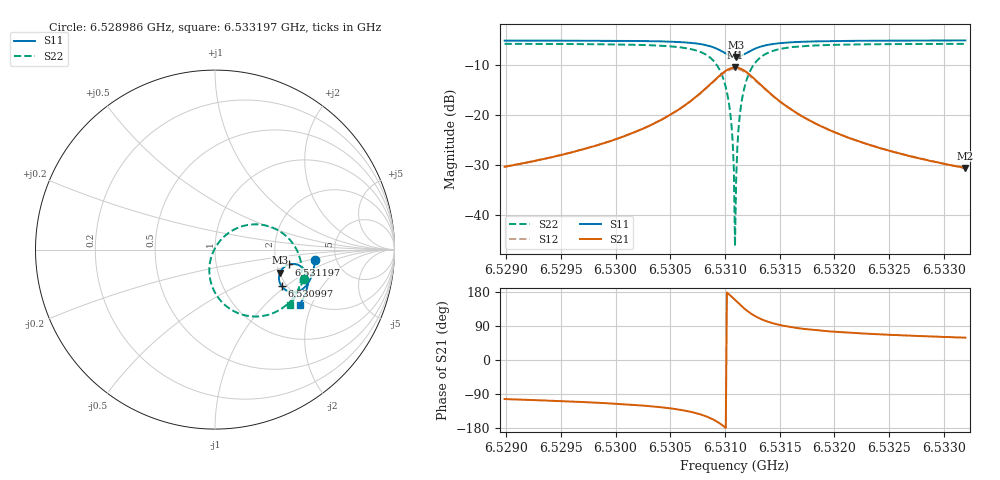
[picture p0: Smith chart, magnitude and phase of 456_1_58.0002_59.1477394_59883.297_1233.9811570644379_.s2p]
#  HZ  S  RI  R  50.00
! Rohde & Schwarz Vector Network Analyzer
! Rohde-Schwarz,ZNB20-2Port,1311601062101988,3.16
! Created: UTC 3/21/2024, 1:10:45 AM
! freq[Hz]  re:S11  im:S11  re:S21  im:S21  re:S12  im:S12  re:S22  im:S22
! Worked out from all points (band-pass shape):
!   401 points, 6.528986 GHz to 6.533197 GHz, reference 50 ohm
!   highest |S21| = -10.40 dB at 6.531092 GHz (marker M1); lowest = -30.5 dB at 6.533197 GHz (marker M2)
!   |S21| within 3 dB of the highest: 6.530882 GHz to 6.531303 GHz (420.9 kHz wide, 0.00644 % of centre)
!   lowest |S11| = -8.3 dB at 6.531102 GHz (marker M3), VSWR 2.25, Z = 101 - j30.2 ohm
!   |S11| at or under -10 dB: nowhere
!   |S22| runs from -46.2 to -5.7 dB; largest |S21 - S12| = 0.012
!   S11 on the Smith chart (normalised r, x): 6.528986 GHz: 3.44, -0.60; 6.530997 GHz: 1.88, -0.93; 6.531197 GHz: 2.34, -0.47; 6.533197 GHz: 1.82, -1.64
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6.5289861e9  0.5578 -0.0594  -0.0069 -0.0299  -0.00747 -0.0297  0.4945 -0.1627
6.5296914e9  0.5475 -0.1177  -0.0161 -0.0425  -0.0171 -0.0422  0.4643 -0.2281
6.5303967e9  0.5191 -0.1868  -0.0493 -0.0728  -0.0513 -0.0715  0.3842 -0.3197
6.5308178e9  0.4494 -0.2358  -0.1553 -0.0984  -0.1576 -0.0923  0.1806 -0.3691
6.5309231e9  0.4053 -0.2307  -0.2235 -0.0726  -0.2229 -0.0637  0.0638 -0.3158
6.5309968e9  0.3712 -0.2039  -0.2742 -0.0153  -0.2687 -0.00586  -0.0134 -0.2111
6.5310283e9  0.3609 -0.1841  -0.2876 0.0224  -0.28 0.0309  -0.03 -0.1458
6.5310494e9  0.3569 -0.1687  -0.2911 0.0512  -0.2819 0.0583  -0.0311 -0.0978
6.5310599e9  0.3564 -0.1606  -0.2908 0.0663  -0.2812 0.0723  -0.0283 -0.0732
6.5310705e9  0.3566 -0.1522  -0.289 0.0811  -0.2789 0.0866  -0.0229 -0.0487
6.531081e9  0.3577 -0.144  -0.2856 0.0962  -0.2753 0.1006  -0.015 -0.0247
6.5310915e9  0.3596 -0.1357  -0.2808 0.1108  -0.2703 0.1143  -0.00475 -0.00125
6.531102e9  0.3624 -0.1278  -0.2746 0.125  -0.264 0.1274  0.00764 0.021
6.5311126e9  0.3661 -0.1202  -0.2669 0.1385  -0.2565 0.1399  0.0223 0.0417
6.5311231e9  0.3705 -0.1132  -0.2582 0.1507  -0.2481 0.1514  0.0386 0.0609
6.5311441e9  0.3813 -0.1009  -0.2375 0.1723  -0.2282 0.1715  0.0759 0.0931
6.5311968e9  0.4138 -0.0829  -0.1782 0.2042  -0.1717 0.2012  0.1793 0.1367
6.5312705e9  0.4562 -0.0832  -0.1036 0.2066  -0.1005 0.2036  0.3051 0.1281
6.5313757e9  0.4929 -0.1056  -0.0396 0.1762  -0.0381 0.1744  0.4098 0.0625
6.5317968e9  0.5179 -0.1852  0.0154 0.0849  0.0164 0.0847  0.4832 -0.1282
6.5325021e9  0.4983 -0.2567  0.0176 0.0407  0.0184 0.0404  0.4552 -0.2452
6.5331969e9  0.4711 -0.3083  0.0153 0.0255  0.0159 0.0254  0.4205 -0.3064
